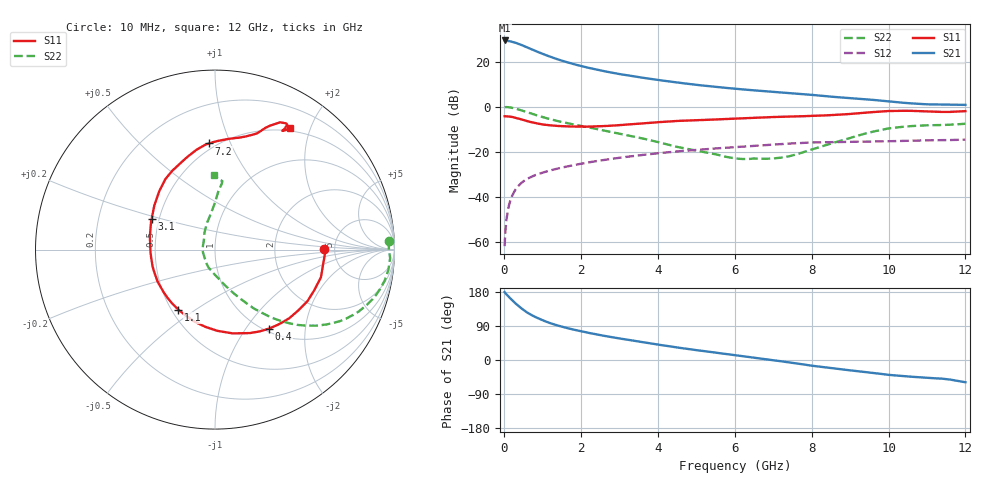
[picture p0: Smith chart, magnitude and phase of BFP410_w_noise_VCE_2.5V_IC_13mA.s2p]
! Infineon Technologies  Discrete & RF Semiconductors
! BFP410
! VCE =  2.5 V,  IC =  13 mA
! Common Emitter S-Parameters:  Nov 2015
# GHz  S  MA  R  50
!  f  S11  S21  S12  S22
! GHz  MAG  ANG  MAG  ANG  MAG  ANG  MAG  ANG
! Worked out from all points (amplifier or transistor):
!   243 points, 10 MHz to 12 GHz, reference 50 ohm
!   highest |S21| = 29.3 dB at 10 MHz (marker M1)
!   |S21| within 3 dB of that: start of sweep to 585.3 MHz
!   unconditionally stable (mu >= 1): 2.187 GHz to end of sweep
!   at 240 MHz: K = 0.20, MSG = 33.5 dB, |S12| = -38.4 dB
!   at 1.84 GHz: K = 0.92, MSG = 22.3 dB, |S12| = -25.9 dB
!   at 12 GHz: K = 1.03, MAG = 6.6 dB, |S12| = -14.7 dB
!   lowest NFmin = 1.42 dB at 900 MHz
!   S11 on the Smith chart (normalised r, x): 10 MHz: 4.12, +0.04; 400 MHz: 1.05, -1.29; 1.1 GHz: 0.54, -0.43; 3.1 GHz: 0.46, +0.19; 7.2 GHz: 0.46, +0.84; 12 GHz: 0.47, +1.70
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0.01  0.6094 0.3  29.34 179.2  0.0008 86.9  0.9687 2.9
0.02  0.6128 -2.4  29.19 177.3  0.0012 91.0  0.969 -0.2
0.05  0.6082 -6.9  28.87 173.8  0.0027 86.1  0.9771 -2.8
0.1  0.6102 -14.7  28.67 168.8  0.0052 83.6  0.9724 -6.8
0.2  0.59 -29.0  27.55 158.4  0.0102 78.2  0.9437 -13.8
0.3  0.5634 -42.7  25.99 148.7  0.0147 73.0  0.9007 -20.0
0.4  0.5335 -55.5  24.19 139.9  0.0186 68.7  0.8507 -25.4
0.5  0.5038 -67.4  22.34 132.2  0.022 65.4  0.7985 -30.1
0.6  0.4771 -78.1  20.52 125.1  0.0249 62.6  0.7483 -33.9
0.7  0.4529 -88.3  18.88 119.2  0.0276 60.4  0.7014 -37.2
0.9  0.417 -106.0  16 109.0  0.0323 57.3  0.6203 -42.5
1.1  0.3923 -121.3  13.7 100.8  0.0364 55.4  0.5533 -46.5
1.46  0.3691 -143.5  10.71 89.1  0.0435 53.2  0.4632 -51.9
2.02  0.3586 -169.5  7.868 75.5  0.0544 50.4  0.3705 -57.9
2.6  0.3704 168.5  6.103 63.8  0.0655 46.9  0.2937 -63.8
3.1  0.3924 154.0  5.108 55.3  0.0751 43.6  0.2411 -69.5
4.1  0.4559 131.7  3.799 39.1  0.094 36.3  0.1555 -84.9
6.1  0.5451 105.0  2.45 11.4  0.1276 20.3  0.0696 -154.0
7.2  0.5925 93.1  2.059 -3.3  0.1472 10.7  0.0736 151.8
8.2  0.63 80.2  1.755 -17.5  0.1608 -0.1  0.1263 115.2
10.2  0.8018 61.7  1.258 -40.9  0.1718 -16.1  0.3431 85.6
12  0.7932 58.3  1.092 -58.7  0.1847 -31.3  0.4157 90.4
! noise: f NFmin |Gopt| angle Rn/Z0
0.45  1.45  0.03  -118  0.16
0.9  1.42  0.02  -123  0.16
1.8  1.53  0.08  -148  0.16
2.4  1.53  0.14  -128  0.21
5.5  2.4  0.38  -109  0.32
10  3.52  0.68  -48  2.04
